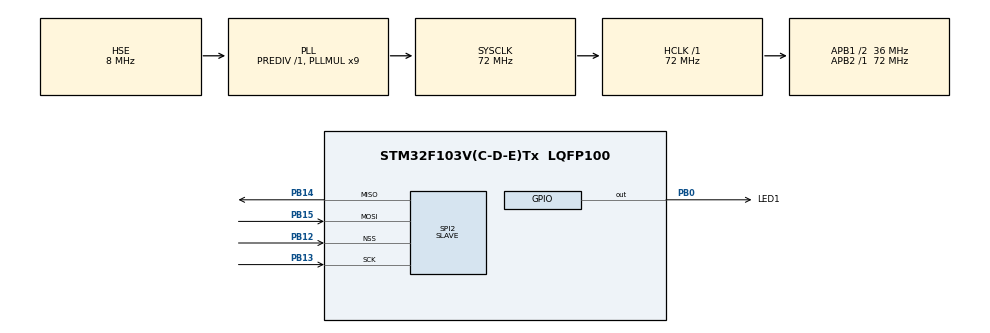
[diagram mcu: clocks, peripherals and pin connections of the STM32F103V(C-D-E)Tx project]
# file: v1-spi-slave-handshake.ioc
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Mcu.Family=STM32F1
Mcu.Name=STM32F103V(C-D-E)Tx
Mcu.Package=LQFP100
NVIC.PriorityGroup=NVIC_PRIORITYGROUP_4
OSC_IN.Mode=HSE-External-Oscillator
OSC_IN.Signal=RCC_OSC_IN
OSC_OUT.Mode=HSE-External-Oscillator
OSC_OUT.Signal=RCC_OSC_OUT
PA13.Mode=Serial_Wire
PA13.Signal=SYS_JTMS-SWDIO
PA14.Mode=Serial_Wire
PA14.Signal=SYS_JTCK-SWCLK
PB0.GPIO_Label=LED1
PB0.PinState=GPIO_PIN_SET
PB0.Signal=GPIO_Output
PB12.Mode=NSS_Signal_Hard_Input
PB12.Signal=SPI2_NSS
PB13.Mode=Full_Duplex_Slave
PB13.Signal=SPI2_SCK
PB14.Mode=Full_Duplex_Slave
PB14.Signal=SPI2_MISO
PB15.Mode=Full_Duplex_Slave
PB15.Signal=SPI2_MOSI
ProjectManager.HeapSize=0x200
ProjectManager.StackSize=0x400
ProjectManager.TargetToolchain=MDK-ARM V5.32
RCC.AHBFreq_Value=72000000
RCC.APB1CLKDivider=RCC_HCLK_DIV2
RCC.APB1Freq_Value=36000000
RCC.APB1TimFreq_Value=72000000
RCC.APB2Freq_Value=72000000
RCC.APB2TimFreq_Value=72000000
RCC.HCLKFreq_Value=72000000
RCC.PLLMUL=RCC_PLL_MUL9
RCC.PLLSourceVirtual=RCC_PLLSOURCE_HSE
RCC.SYSCLKFreq_VALUE=72000000
RCC.SYSCLKSource=RCC_SYSCLKSOURCE_PLLCLK
RCC.USBFreq_Value=72000000
SPI2.Direction=SPI_DIRECTION_2LINES
SPI2.Mode=SPI_MODE_SLAVE
SPI2.VirtualNSS=VM_NSSHARD
SPI2.VirtualType=VM_SLAVE
board=custom

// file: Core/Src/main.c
/* USER CODE BEGIN Header */
/**
  ******************************************************************************
  * @file           : main.c
  * @brief          : Main program body
  ******************************************************************************
  * @attention
  *
  * Copyright (c) 2026 STMicroelectronics.
  * All rights reserved.
  *
  * This software is licensed under terms that can be found in the LICENSE file
  * in the root directory of this software component.
  * If no LICENSE file comes with this software, it is provided AS-IS.
  *
  ******************************************************************************
  */
/* USER CODE END Header */
#include "main.h"
#include "spi.h"
#include "gpio.h"

void SystemClock_Config(void);
/* USER CODE BEGIN PFP */

#define FRAME_LEN        5
#define CMD_WRITE_FLAG   0x80
#define CMD_ADDR_MASK    0x7F

#define REG_DEVICE_ID    0x00
#define REG_FW_VERSION   0x01
#define REG_STATUS       0x02
#define REG_CONTROL      0x03
#define REG_SAMPLE_RATE  0x04
#define REG_NOP          0x7F

#define ST_RUNNING       (1u << 0)
#define ST_CMD_ERR       (1u << 1)
#define ST_RANGE_ERR     (1u << 2)
#define ST_SPI_RESYNC    (1u << 3)

static uint8_t  rx_buf[FRAME_LEN];
static uint8_t  tx_buf[FRAME_LEN];

static uint32_t reg_status      = 0;
static uint32_t reg_control     = 0;
static uint32_t reg_sample_rate = 1000;

uint32_t unpack_u32(const uint8_t *p);
void pack_u32(uint8_t *p, uint32_t v);
uint32_t reg_read(uint8_t addr);
void reg_write(uint8_t addr, uint32_t val);
void handle_frame(void);
void spi_resync(void);

/* USER CODE END PFP */

int main(void)
{

  /* MCU Configuration--------------------------------------------------------*/

  /* Reset of all peripherals, Initializes the Flash interface and the Systick. */
  HAL_Init();

  /* Configure the system clock */
  SystemClock_Config();

  /* Initialize all configured peripherals */
  MX_GPIO_Init();
  MX_SPI2_Init();

  /* Infinite loop */
  /* USER CODE BEGIN WHILE */
	tx_buf[0] = REG_NOP;
	pack_u32(&tx_buf[1], 0);

	while (1) {
    if (HAL_SPI_TransmitReceive(&hspi2, tx_buf, rx_buf,
                                FRAME_LEN, HAL_MAX_DELAY) == HAL_OK)
		{
        handle_frame();
    }
		else
		{
        spi_resync();
    }
}
  /* USER CODE END 3 */
}

void SystemClock_Config(void)
{
  RCC_OscInitTypeDef RCC_OscInitStruct = {0};
  RCC_ClkInitTypeDef RCC_ClkInitStruct = {0};

  /** Initializes the RCC Oscillators according to the specified parameters
  * in the RCC_OscInitTypeDef structure.
  */
  RCC_OscInitStruct.OscillatorType = RCC_OSCILLATORTYPE_HSE;
  RCC_OscInitStruct.HSEState = RCC_HSE_ON;
  RCC_OscInitStruct.HSEPredivValue = RCC_HSE_PREDIV_DIV1;
  RCC_OscInitStruct.HSIState = RCC_HSI_ON;
  RCC_OscInitStruct.PLL.PLLState = RCC_PLL_ON;
  RCC_OscInitStruct.PLL.PLLSource = RCC_PLLSOURCE_HSE;
  RCC_OscInitStruct.PLL.PLLMUL = RCC_PLL_MUL9;
  if (HAL_RCC_OscConfig(&RCC_OscInitStruct) != HAL_OK)
  {
    Error_Handler();
  }

  /** Initializes the CPU, AHB and APB buses clocks
  */
  RCC_ClkInitStruct.ClockType = RCC_CLOCKTYPE_HCLK|RCC_CLOCKTYPE_SYSCLK
                              |RCC_CLOCKTYPE_PCLK1|RCC_CLOCKTYPE_PCLK2;
  RCC_ClkInitStruct.SYSCLKSource = RCC_SYSCLKSOURCE_PLLCLK;
  RCC_ClkInitStruct.AHBCLKDivider = RCC_SYSCLK_DIV1;
  RCC_ClkInitStruct.APB1CLKDivider = RCC_HCLK_DIV2;
  RCC_ClkInitStruct.APB2CLKDivider = RCC_HCLK_DIV1;

  if (HAL_RCC_ClockConfig(&RCC_ClkInitStruct, FLASH_LATENCY_2) != HAL_OK)
  {
    Error_Handler();
  }
}

/* USER CODE BEGIN 4 */

/* USER CODE BEGIN 4 */
static uint32_t unpack_u32(const uint8_t *p)
{
    return ((uint32_t)p[0] << 24) | ((uint32_t)p[1] << 16) |
           ((uint32_t)p[2] << 8)  |  (uint32_t)p[3];
}

static void pack_u32(uint8_t *p, uint32_t v) {
    p[0] = v >> 24; p[1] = v >> 16; p[2] = v >> 8; p[3] = v;
}

static uint32_t reg_read(uint8_t addr) {
    switch (addr) {
        case REG_DEVICE_ID:   return 0xAC00ACC0u;
        case REG_FW_VERSION:  return 0x00010200u;
        case REG_STATUS:      return reg_status;
        case REG_CONTROL:     return reg_control;
        case REG_SAMPLE_RATE: return reg_sample_rate;
        case REG_NOP:         return 0;
        default:
            reg_status |= ST_CMD_ERR;
            return 0;
    }
}

static void reg_write(uint8_t addr, uint32_t val) {
    switch (addr) {
        case REG_CONTROL:
            if (val & 0x02u) {                    /* CLEAR_FLAGS */
                reg_status &= ~(ST_CMD_ERR | ST_RANGE_ERR | ST_SPI_RESYNC);
                val &= ~0x02u;
            }
            reg_control = val & 0x01u;
            if (reg_control & 0x01u) reg_status |=  ST_RUNNING;
            else                     reg_status &= ~ST_RUNNING;
            break;

        case REG_SAMPLE_RATE:
            if (val >= 1u && val <= 10000u) reg_sample_rate = val;
            else                            reg_status |= ST_RANGE_ERR;
            break;

        default:
            reg_status |= ST_CMD_ERR;             /* 只读寄存器或未定义地址 */
            break;
    }
}

/* 处理刚收到的帧，并填好【下一帧】要发的内容 */
static void handle_frame(void) {
    uint8_t  cmd  = rx_buf[0];
    uint8_t  addr = cmd & CMD_ADDR_MASK;
    uint32_t resp = 0;

    if (cmd & CMD_WRITE_FLAG) {
        reg_write(addr, unpack_u32(&rx_buf[1]));
        resp = 0;
    } else {
        resp = reg_read(addr);
    }
    tx_buf[0] = cmd;              /* echo */
    pack_u32(&tx_buf[1], resp);
}

static void spi_resync(void) {
    volatile uint32_t tmp;
    __HAL_SPI_DISABLE(&hspi2);
    tmp = hspi2.Instance->DR;      /* 读 DR 再读 SR 清 OVR */
    tmp = hspi2.Instance->SR;
    (void)tmp;
    __HAL_SPI_CLEAR_OVRFLAG(&hspi2);
    hspi2.State = HAL_SPI_STATE_READY;
    hspi2.ErrorCode = HAL_SPI_ERROR_NONE;
    reg_status |= ST_SPI_RESYNC;
    __HAL_SPI_ENABLE(&hspi2);
}

/* USER CODE END 4 */

void Error_Handler(void)
{
  __disable_irq();
  while (1)
  {
  }
}
